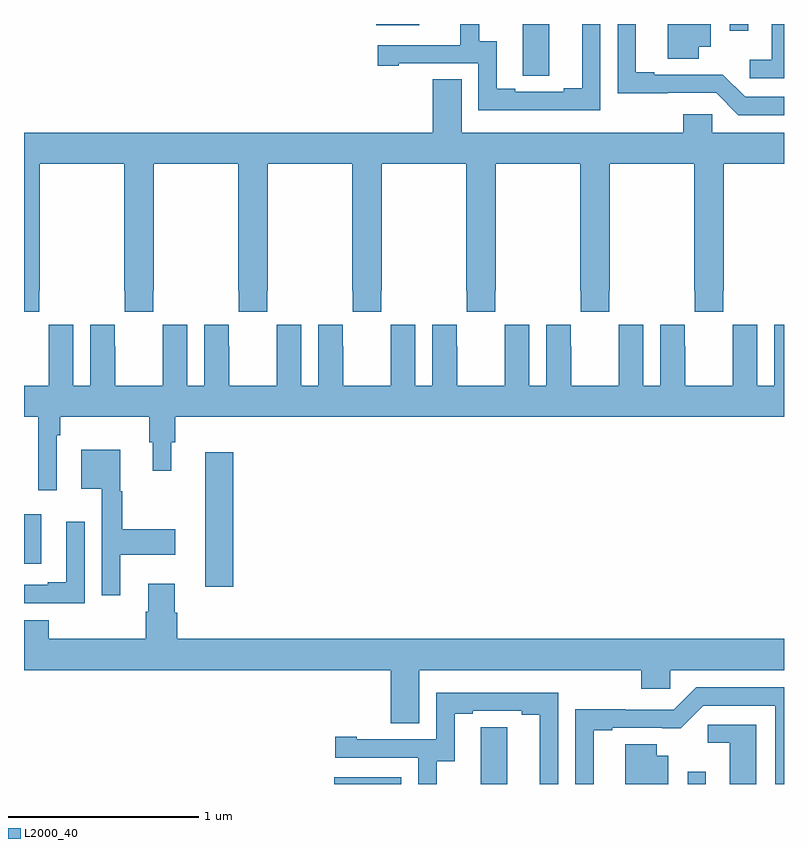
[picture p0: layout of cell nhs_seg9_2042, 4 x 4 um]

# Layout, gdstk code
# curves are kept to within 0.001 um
import gdstk
lib = gdstk.Library(unit=1e-6, precision=1e-09)
def R(c, l, rs):  # rectangles x0, y0, x1, y1
    for r in rs: c.add(gdstk.rectangle(r[:2], r[2:], *l))
def P(c, l, *ps):  # polygons
    for p in ps: c.add(gdstk.Polygon(p, *l))
L2000_40 = (2000, 40)

nhs_seg9_2042 = lib.new_cell('nhs_seg9_2042')
R(nhs_seg9_2042, L2000_40, [(228.632,1182.5,228.985,1182.535), (230.493,1182.5,230.589,1182.565), (227.954,1183.539,228.101,1184.245), (227,1183.658,227.092,1183.921), (230.715,1186.464,230.811,1186.5), (228.854,1186.493,229.081,1186.5)])
P(nhs_seg9_2042, L2000_40, [(229.765,1186.5),(229.625,1186.5),(229.625,1186.336),(229.626,1186.336),(229.626,1186.228),(229.765,1186.228)],
  [(230.034,1186.5),(229.937,1186.5),(229.937,1186.163),(229.841,1186.163),(229.841,1186.143),(229.585,1186.143),(229.585,1186.158),(229.489,1186.158),(229.489,1186.409),(229.395,1186.409),(229.395,1186.5),(229.296,1186.5),(229.296,1186.39),(229.295,1186.39),(229.295,1186.389),(228.861,1186.389),(228.861,1186.281),(228.973,1186.281),(228.973,1186.293),(229.392,1186.293),(229.392,1186.047),(230.034,1186.047)],
  [(230.551,1186.379),(230.614,1186.379),(230.614,1186.5),(230.387,1186.5),(230.387,1186.318),(230.551,1186.318)],
  [(231,1186.5),(230.936,1186.5),(230.936,1186.312),(230.82,1186.312),(230.82,1186.215),(231,1186.215)],
  [(231,1186.116),(230.796,1186.116),(230.678,1186.234),(230.317,1186.233),(230.317,1186.246),(230.221,1186.246),(230.221,1186.5),(230.124,1186.5),(230.124,1186.136),(230.643,1186.137),(230.76,1186.02),(231,1186.02)],
  [(227,1184.985),(227.079,1184.985),(227.079,1185.097),(227.082,1185.097),(227.082,1185.764),(227.527,1185.764),(227.527,1185.097),(227.529,1185.097),(227.529,1184.985),(227.679,1184.985),(227.679,1185.097),(227.682,1185.097),(227.682,1185.764),(228.127,1185.764),(228.127,1185.097),(228.129,1185.097),(228.129,1184.985),(228.279,1184.985),(228.279,1185.097),(228.282,1185.097),(228.282,1185.764),(228.727,1185.764),(228.727,1185.097),(228.729,1185.097),(228.729,1184.985),(228.879,1184.985),(228.879,1185.097),(228.882,1185.097),(228.882,1185.764),(229.327,1185.764),(229.327,1185.097),(229.329,1185.097),(229.329,1184.985),(229.479,1184.985),(229.479,1185.097),(229.482,1185.097),(229.482,1185.764),(229.927,1185.764),(229.927,1185.097),(229.929,1185.097),(229.929,1184.985),(230.079,1184.985),(230.079,1185.097),(230.082,1185.097),(230.082,1185.764),(230.527,1185.764),(230.527,1185.097),(230.529,1185.097),(230.529,1184.985),(230.679,1184.985),(230.679,1185.097),(230.682,1185.097),(230.682,1185.764),(231,1185.764),(231,1185.928),(230.622,1185.928),(230.622,1186.026),(230.471,1186.026),(230.471,1185.928),(229.303,1185.928),(229.303,1186.208),(229.151,1186.208),(229.151,1185.928),(227,1185.928)],
  [(227.172,1184.336),(227.192,1184.336),(227.192,1184.432),(227.659,1184.432),(227.659,1184.298),(227.678,1184.298),(227.678,1184.148),(227.776,1184.148),(227.776,1184.298),(227.795,1184.298),(227.795,1184.432),(231,1184.432),(231,1184.917),(230.948,1184.917),(230.948,1184.596),(230.86,1184.596),(230.86,1184.917),(230.73,1184.917),(230.73,1184.804),(230.729,1184.804),(230.729,1184.596),(230.479,1184.596),(230.479,1184.804),(230.478,1184.804),(230.478,1184.917),(230.348,1184.917),(230.348,1184.596),(230.26,1184.596),(230.26,1184.917),(230.13,1184.917),(230.13,1184.804),(230.129,1184.804),(230.129,1184.596),(229.879,1184.596),(229.879,1184.804),(229.878,1184.804),(229.878,1184.917),(229.748,1184.917),(229.748,1184.596),(229.66,1184.596),(229.66,1184.917),(229.53,1184.917),(229.53,1184.804),(229.529,1184.804),(229.529,1184.596),(229.279,1184.596),(229.279,1184.804),(229.278,1184.804),(229.278,1184.917),(229.148,1184.917),(229.148,1184.596),(229.06,1184.596),(229.06,1184.917),(228.93,1184.917),(228.93,1184.804),(228.929,1184.804),(228.929,1184.596),(228.679,1184.596),(228.679,1184.804),(228.678,1184.804),(228.678,1184.917),(228.548,1184.917),(228.548,1184.596),(228.46,1184.596),(228.46,1184.917),(228.33,1184.917),(228.33,1184.804),(228.329,1184.804),(228.329,1184.596),(228.079,1184.596),(228.079,1184.804),(228.078,1184.804),(228.078,1184.917),(227.948,1184.917),(227.948,1184.596),(227.86,1184.596),(227.86,1184.917),(227.73,1184.917),(227.73,1184.804),(227.729,1184.804),(227.729,1184.596),(227.479,1184.596),(227.479,1184.804),(227.478,1184.804),(227.478,1184.917),(227.348,1184.917),(227.348,1184.596),(227.26,1184.596),(227.26,1184.917),(227.13,1184.917),(227.13,1184.804),(227.129,1184.804),(227.129,1184.596),(227,1184.596),(227,1184.432),(227.075,1184.432),(227.075,1184.046),(227.172,1184.046)],
  [(227.506,1183.706),(227.797,1183.706),(227.797,1183.841),(227.518,1183.841),(227.518,1184.04),(227.506,1184.04),(227.506,1184.26),(227.3,1184.26),(227.3,1184.054),(227.409,1184.054),(227.409,1183.494),(227.506,1183.494)],
  [(227.319,1183.879),(227.222,1183.879),(227.222,1183.561),(227.126,1183.561),(227.126,1183.548),(227,1183.548),(227,1183.452),(227.319,1183.452)],
  [(229.081,1183.1),(230.249,1183.1),(230.249,1183.002),(230.4,1183.002),(230.4,1183.1),(231,1183.1),(231,1183.264),(227.807,1183.264),(227.807,1183.401),(227.794,1183.401),(227.794,1183.555),(227.654,1183.555),(227.654,1183.406),(227.642,1183.406),(227.642,1183.264),(227.129,1183.264),(227.129,1183.362),(227,1183.362),(227,1183.1),(228.929,1183.1),(228.929,1182.82),(229.081,1182.82)],
  [(229.999,1182.783),(230.095,1182.783),(230.095,1182.795),(230.456,1182.794),(230.574,1182.912),(230.954,1182.912),(230.954,1182.5),(231,1182.5),(231,1183.008),(230.538,1183.008),(230.421,1182.891),(230.165,1182.891),(230.165,1182.893),(229.902,1182.893),(229.902,1182.5),(229.999,1182.5)],
  [(229.173,1182.619),(229.267,1182.619),(229.267,1182.87),(229.363,1182.87),(229.363,1182.885),(229.619,1182.885),(229.619,1182.865),(229.715,1182.865),(229.715,1182.5),(229.812,1182.5),(229.812,1182.981),(229.17,1182.981),(229.17,1182.735),(228.751,1182.735),(228.751,1182.748),(228.639,1182.748),(228.639,1182.639),(229.074,1182.639),(229.074,1182.5),(229.173,1182.5)],
  [(230.854,1182.813),(230.598,1182.813),(230.598,1182.716),(230.714,1182.716),(230.714,1182.5),(230.854,1182.5)],
  [(229.543,1182.8),(229.404,1182.8),(229.404,1182.692),(229.403,1182.692),(229.403,1182.5),(229.543,1182.5)],
  [(230.392,1182.649),(230.329,1182.649),(230.329,1182.71),(230.165,1182.71),(230.165,1182.5),(230.392,1182.5)])

lib.write_gds('nhs_seg9_2042.gds')
